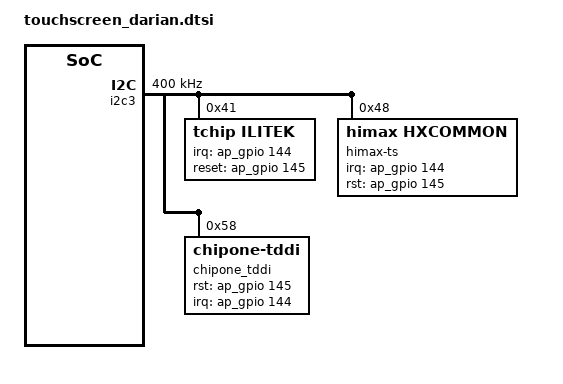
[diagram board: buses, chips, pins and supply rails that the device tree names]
&i2c3 {
	status = "okay";
	clock-frequency = <400000>;
	ilitek@41 {
		compatible = "tchip,ilitek";
		reg  = <0x41>;
		touch,irq-gpio = <&ap_gpio 144 0x2002>;
		touch,reset-gpio = <&ap_gpio 145 0>;
	};

	himax-ts@48 {
		compatible = "himax,hxcommon";
		reg = <0x48>;
		himax,panel-coords = <0 719 0 1599>;
		himax,display-coords = <0 719 0 1599>;
		himax,irq-gpio = <&ap_gpio 144 0x2002>;
		himax,rst-gpio = <&ap_gpio 145 0>;
		report_type = <1>;
	};

	chipone_tddi@58 {
		compatible = "chipone-tddi";
		reg = <0x58>;
		chipone,rst-gpio = <&ap_gpio 145 0>;
		chipone,irq-gpio = <&ap_gpio 144 0>;
		chipone,x-res = <719>;
		chipone,y-res = <1599>;
	};
};

